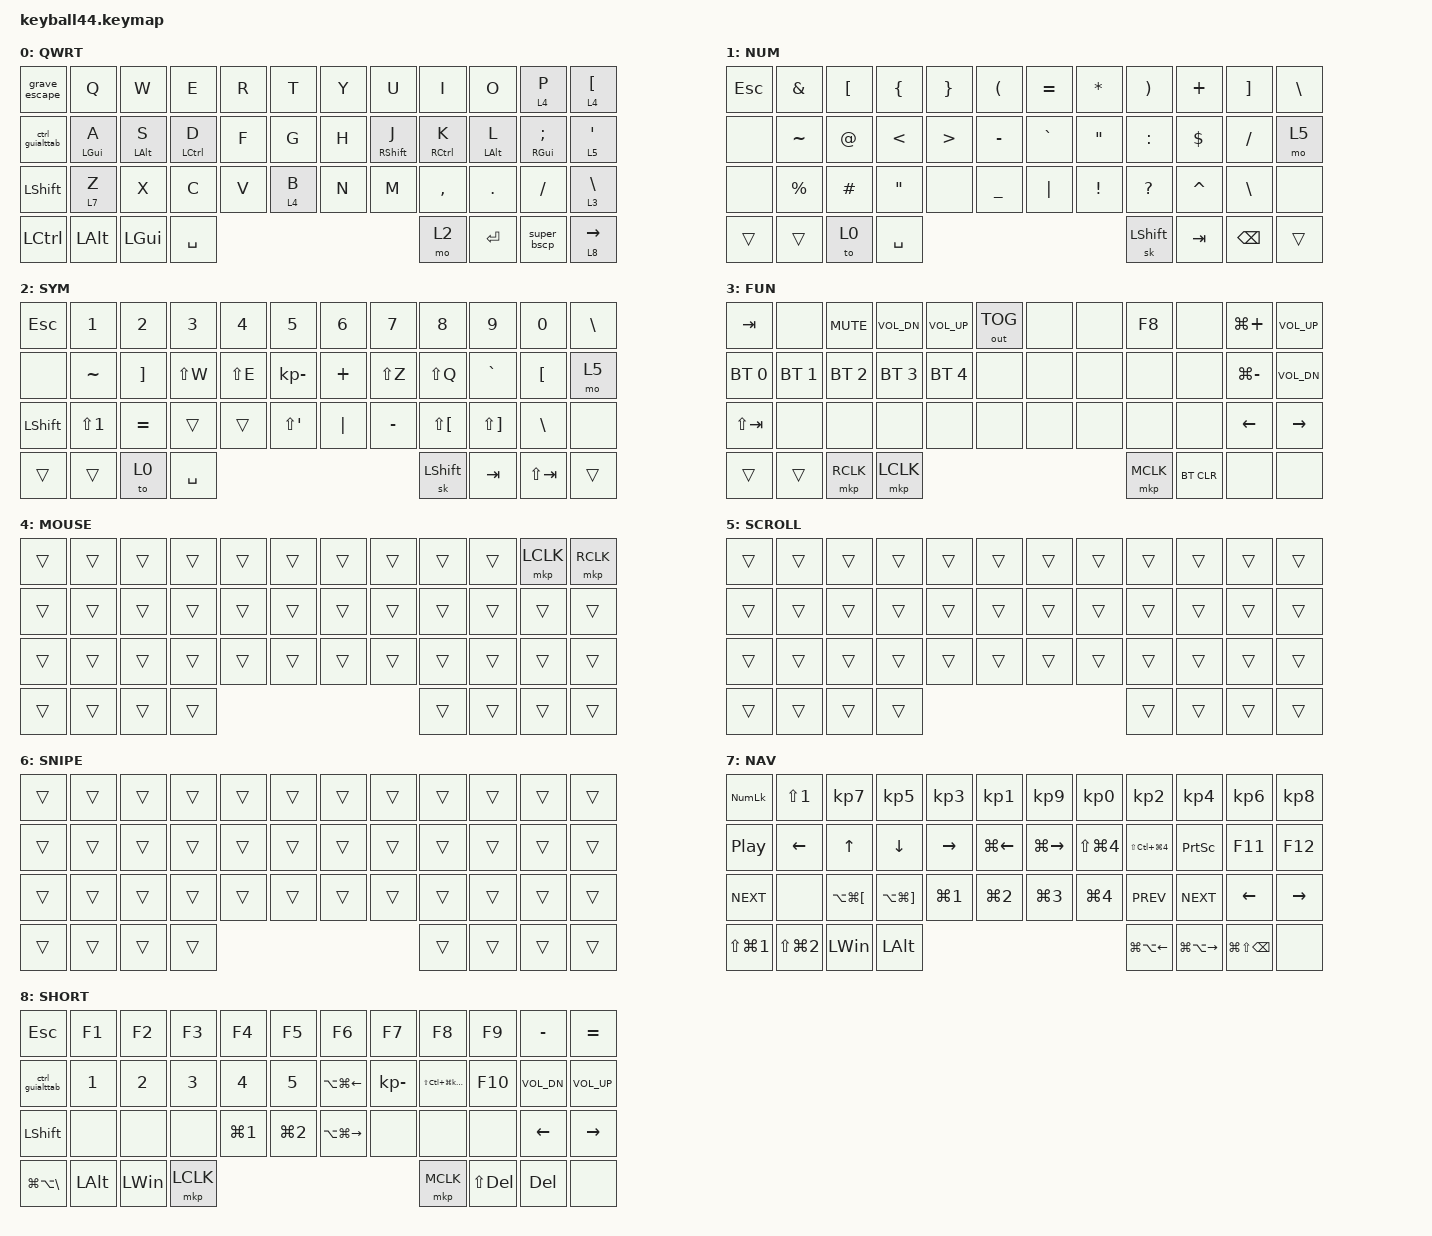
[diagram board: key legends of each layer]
#define DEFAULT 0
#define NUM     1
#define SYM     2
#define FUN     3
#define MOUSE   4
#define SCROLL  5
#define SNIPE   6

#include <behaviors/mouse_keys.dtsi>
#include <dt-bindings/zmk/mouse.h>
#include <behaviors.dtsi>
#include <dt-bindings/zmk/bt.h>
#include <dt-bindings/zmk/keys.h>
#include <dt-bindings/zmk/outputs.h>
#include <dt-bindings/zmk/pointing.h>

&lt {
    tapping-term-ms = <240>;
    flavor = "tap-preferred";
    quick-tap-ms = <150>;
    require-prior-idle-ms = <10>;
};

&mt {
    tapping-term-ms = <250>;
    flavor = "tap-preferred";
    require-prior-idle-ms = <250>;
};

/ {
    // custom shift using mod-morph

    behaviors {
        grave_escape: grave_escape {
            compatible = "zmk,behavior-mod-morph";
            label = "GRAVE_ESCAPE";
            bindings = <&kp ESC>, <&kp GRAVE>;

            #binding-cells = <0>;
            mods = <(MOD_LGUI)>;
        };

        super_bscp: super_backspace {
            compatible = "zmk,behavior-mod-morph";
            label = "SUPER_BSCP";
            bindings = <&kp BACKSPACE>, <&kp LA(BACKSPACE)>;

            #binding-cells = <0>;
            mods = <(MOD_LSFT|MOD_RSFT)>;
        };

        ctrl_guialttab: ctrl_guialttab {
            compatible = "zmk,behavior-mod-morph";
            label = "CTRL_GUIALTTAB";
            bindings = <&kp LCTRL>, <&kp TAB>;

            #binding-cells = <0>;
            mods = <(MOD_LGUI|MOD_LALT)>;
            keep-mods = <(MOD_LGUI|MOD_LALT)>;
        };
    };

    combos {
        compatible = "zmk,combos";

        combo_down {
            bindings = <&kp DOWN>;
            key-positions = <1 2>;
        };

        combo_bootloader {
            bindings = <&bootloader>;
            key-positions = <11 23 35>;
        };
    };

    keymap {
        compatible = "zmk,keymap";

        default_layer {
            label = "QWRT";
            bindings = <
&grave_escape    &kp Q           &kp W           &kp E        &kp R  &kp T                   &kp Y        &kp U              &kp I        &kp O           &lt 4 P             &lt 4 LBKT
&ctrl_guialttab  &mt LEFT_GUI A  &mt LEFT_ALT S  &mt LCTRL D  &kp F  &kp G                   &kp H        &mt RIGHT_SHIFT J  &mt RCTRL K  &mt LEFT_ALT L  &mt RIGHT_GUI SEMI  &lt 5 SQT
&kp LEFT_SHIFT   &lt 7 Z         &kp X           &kp C        &kp V  &lt 4 B                 &kp N        &kp M              &kp COMMA    &kp DOT         &kp SLASH           &lt 3 BACKSLASH
&kp LCTRL        &kp LALT        &kp LEFT_GUI    &kp SPACE    &mo 2               &kp ENTER  &super_bscp                                                                      &lt 8 RIGHT
            >;
        };

        Dvorak_DeadState {
            label = "NUM";
            bindings = <
&kp ESC  &kp AMPS     &kp LBKT  &kp LBRC   &kp RIGHT_BRACE  &kp LPAR                &kp EQUAL      &kp STAR           &kp RPAR      &kp PLUS    &kp RBKT       &kp BACKSLASH
&none    &kp TILDE    &kp AT    &kp LT     &kp GT           &kp MINUS               &kp GRAVE      &kp DOUBLE_QUOTES  &kp COLON     &kp DOLLAR  &kp SLASH      &mo 5
&none    &kp PERCENT  &kp HASH  &kp DQT    &none            &kp UNDER               &kp PIPE       &kp EXCLAMATION    &kp QUESTION  &kp CARET   &kp BACKSLASH  &none
&trans   &trans       &to 0     &kp SPACE  &sk LEFT_SHIFT                  &kp TAB  &kp BACKSPACE                                                              &trans
            >;
        };

        Dvorak_DeadState_v2 {
            label = "SYM";
            bindings = <
&kp ESC         &kp NUMBER_1  &kp N2     &kp N3     &kp N4          &kp N5                             &kp N6       &kp N7     &kp N8        &kp N9        &kp N0         &kp BACKSLASH
&none           &kp TILDE     &kp RBKT   &kp LS(W)  &kp LS(E)       &kp KP_MINUS                       &kp PLUS     &kp LS(Z)  &kp LS(Q)     &kp GRAVE     &kp LBKT       &mo 5
&kp LEFT_SHIFT  &kp LS(N1)    &kp EQUAL  &trans     &trans          &kp LS(SINGLE_QUOTE)               &kp PIPE     &kp MINUS  &kp LS(LBKT)  &kp LS(RBKT)  &kp BACKSLASH  &none
&trans          &trans        &to 0      &kp SPACE  &sk LEFT_SHIFT                            &kp TAB  &kp LS(TAB)                                                        &trans
            >;
        };

        function_layer {
            label = "FUN";
            bindings = <
&kp TAB       &none         &kp C_MUTE    &kp C_VOL_DN  &kp C_VOLUME_UP  &out OUT_TOG                  &none  &none  &kp F8  &none  &kp LG(PLUS)   &kp C_VOL_UP
&bt BT_SEL 0  &bt BT_SEL 1  &bt BT_SEL 2  &bt BT_SEL 3  &bt BT_SEL 4     &none                         &none  &none  &none   &none  &kp LG(MINUS)  &kp C_VOL_DN
&kp LS(TAB)   &none         &none         &none         &none            &none                         &none  &none  &none   &none  &kp LEFT       &kp RIGHT
&trans        &trans        &mkp RCLK     &mkp LCLK     &mkp MCLK                          &bt BT_CLR  &none                                       &none
            >;
        };

        mouse_layer {
            bindings = <
&trans  &trans  &trans  &trans  &trans  &trans              &trans  &trans  &trans  &trans  &mkp LCLK  &mkp RCLK
&trans  &trans  &trans  &trans  &trans  &trans              &trans  &trans  &trans  &trans  &trans     &trans
&trans  &trans  &trans  &trans  &trans  &trans              &trans  &trans  &trans  &trans  &trans     &trans
&trans  &trans  &trans  &trans  &trans              &trans  &trans                                     &trans
            >;

            label = "MOUSE";
        };

        scroll_layer {
            label = "SCROLL";
            bindings = <
&trans  &trans  &trans  &trans  &trans  &trans              &trans  &trans  &trans  &trans  &trans  &trans
&trans  &trans  &trans  &trans  &trans  &trans              &trans  &trans  &trans  &trans  &trans  &trans
&trans  &trans  &trans  &trans  &trans  &trans              &trans  &trans  &trans  &trans  &trans  &trans
&trans  &trans  &trans  &trans  &trans              &trans  &trans                                  &trans
            >;
        };

        snipe_layer {
            label = "SNIPE";
            bindings = <
&trans  &trans  &trans  &trans  &trans  &trans              &trans  &trans  &trans  &trans  &trans  &trans
&trans  &trans  &trans  &trans  &trans  &trans              &trans  &trans  &trans  &trans  &trans  &trans
&trans  &trans  &trans  &trans  &trans  &trans              &trans  &trans  &trans  &trans  &trans  &trans
&trans  &trans  &trans  &trans  &trans              &trans  &trans                                  &trans
            >;
        };

        nav_layer {
            label = "NAV";
            bindings = <
&kp KP_NUMLOCK  &kp LS(N1)      &kp KP_N7         &kp KP_N5         &kp KP_N3         &kp KP_N1                            &kp KP_N9              &kp KP_N0       &kp KP_N2           &kp KP_N4        &kp KP_N6  &kp KP_N8
&kp C_PP        &kp LEFT_ARROW  &kp UP            &kp DOWN          &kp RIGHT         &kp LG(LEFT)                         &kp LG(RIGHT)          &kp LS(LG(N4))  &kp LS(LC(LG(N4)))  &kp PRINTSCREEN  &kp F11    &kp F12
&kp C_NEXT      &none           &kp LA(LG(LBKT))  &kp LA(LG(RBKT))  &kp LG(N1)        &kp LG(N2)                           &kp LG(N3)             &kp LG(N4)      &kp C_PREV          &kp C_NEXT       &kp LEFT   &kp RIGHT
&kp LS(LG(N1))  &kp LS(LG(N2))  &kp LEFT_WIN      &kp LEFT_ALT      &kp LG(LA(LEFT))                    &kp LG(LA(RIGHT))  &kp LG(LS(BACKSPACE))                                                                  &none
            >;
        };

        shortcut_layer {
            label = "SHORT";
            bindings = <
&kp ESC                &kp F1        &kp F2        &kp F3     &kp F4      &kp F5                         &kp F6             &kp F7        &kp F8                   &kp F9   &kp MINUS     &kp EQUAL
&ctrl_guialttab        &kp N1        &kp N2        &kp N3     &kp N4      &kp NUMBER_5                   &kp LA(LG(LEFT))   &kp KP_MINUS  &kp LS(LC(LG(KP_PLUS)))  &kp F10  &kp C_VOL_DN  &kp C_VOL_UP
&kp LEFT_SHIFT         &none         &none         &none      &kp LG(N1)  &kp LG(N2)                     &kp LA(LG(RIGHT))  &none         &none                    &none    &kp LEFT      &kp RIGHT
&kp LG(LA(BACKSLASH))  &kp LEFT_ALT  &kp LEFT_WIN  &mkp LCLK  &mkp MCLK                     &kp LS(DEL)  &kp DEL                                                                          &none
            >;
        };
    };
};
